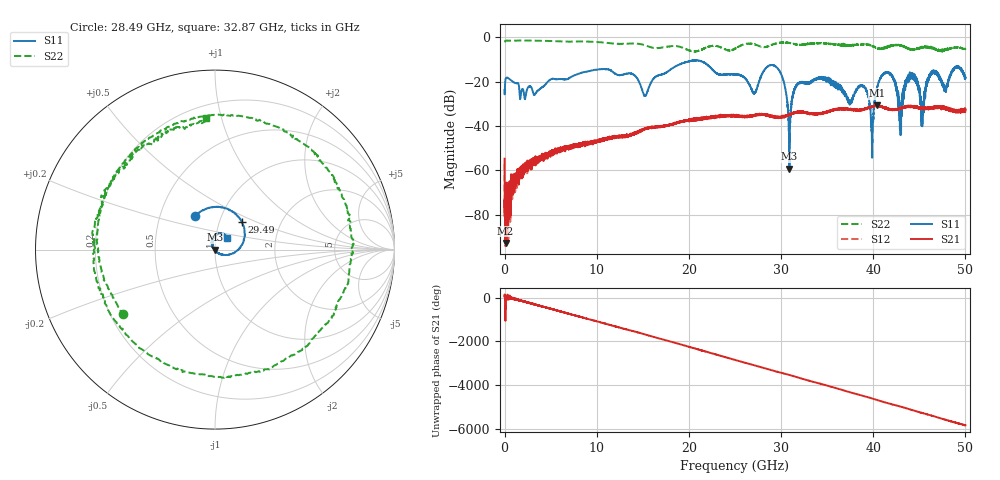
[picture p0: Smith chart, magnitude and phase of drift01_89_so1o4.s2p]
!Created with skrf (http://scikit-rf.org).
# Hz S RI R 50.0
!freq ReS11 ImS11 ReS21 ImS21 ReS12 ImS12 ReS22 ImS22
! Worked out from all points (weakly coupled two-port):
!   10001 points, 300 kHz to 50 GHz, reference 50 ohm
!   highest |S21| = -30.63 dB at 40.4 GHz (marker M1); lowest = -92.8 dB at 100.3 MHz (marker M2)
!   lowest |S11| = -59.2 dB at 30.9 GHz (marker M3), VSWR 1.00, Z = 49.9 + j0.0186 ohm
!   |S11| at or under -10 dB: start of sweep to end of sweep
!   |S22| runs from -6.5 to -1.4 dB; largest |S21 - S12| = 0.0034
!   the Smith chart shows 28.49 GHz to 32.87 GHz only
!   S11 on the Smith chart (normalised r, x): 28.49 GHz: 0.75, +0.29; 29.49 GHz: 1.27, +0.42; 32.87 GHz: 1.13, +0.15
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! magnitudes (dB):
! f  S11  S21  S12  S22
! 300 kHz  -23.8  -54.7  -57.1  -2.1
! 100.3 MHz  -18.8  -92.8  -74.2  -1.5
! 8.335 GHz  -16.0  -48.4  -48.7  -1.8
! 15.23 GHz  -26.4  -41.1  -41.2  -3.5
! 16.67 GHz  -17.1  -40.6  -40.3  -4.8
! 25 GHz  -16.7  -35.4  -35.3  -5.1
! 27.1 GHz  -25.3  -35.3  -35.2  -3.1
! 28.49 GHz  -13.3  -34.6  -35.2  -4.1
! 29.49 GHz  -13.4  -36.1  -35.8  -2.7
! 30.9 GHz  -59.2  -34.7  -34.8  -2.5
! 31.61 GHz  -22.5  -33.8  -33.6  -3.1
! 32.87 GHz  -20.5  -34.1  -34.2  -2.7
! 33.34 GHz  -19.8  -34.5  -34.4  -2.7
! 38.91 GHz  -22.1  -32.4  -32.4  -3.0
! 39.85 GHz  -44.0  -31.2  -31.1  -3.7
! 40.4 GHz  -22.9  -30.6  -30.7  -4.9
! 41.67 GHz  -16.0  -32.4  -32.5  -4.2
! 42.93 GHz  -37.3  -32.1  -32.3  -3.7
! 44.06 GHz  -17.4  -31.3  -31.3  -5.3
! 45.3 GHz  -34.3  -31.5  -31.8  -4.5
! 46.43 GHz  -15.6  -31.6  -31.7  -4.6
! 50 GHz  -18.0  -32.7  -33.3  -5.4
